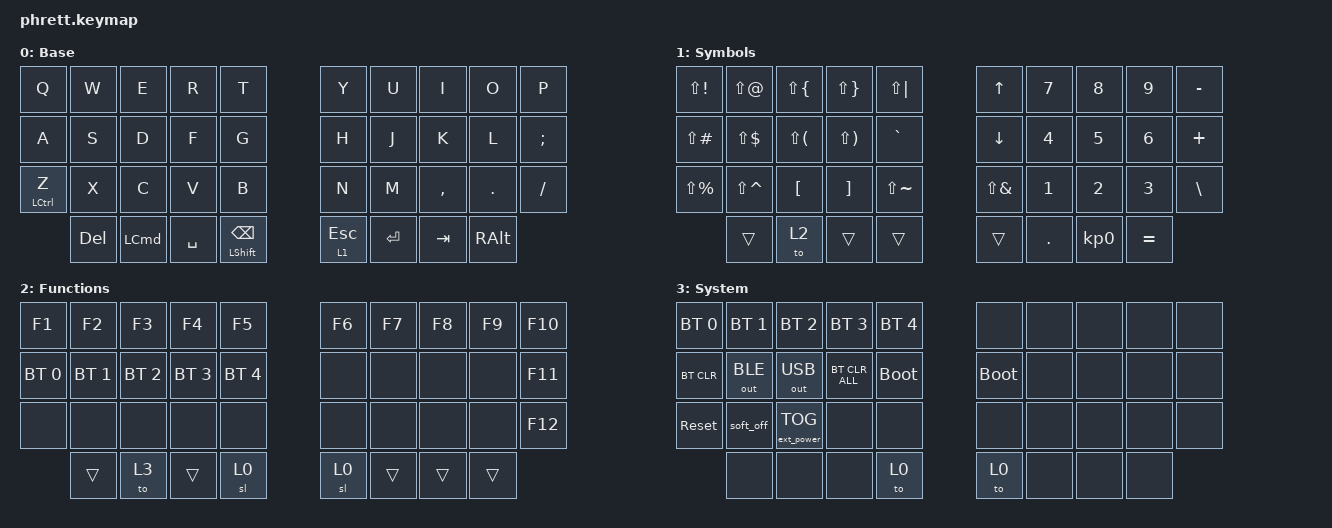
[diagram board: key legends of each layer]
#include <behaviors.dtsi>
#include <dt-bindings/zmk/bt.h>
#include <dt-bindings/zmk/ext_power.h>
#include <dt-bindings/zmk/keys.h>
#include <dt-bindings/zmk/outputs.h>

/ {
    conditional_layers { compatible = "zmk,conditional-layers"; };

    keymap {
        compatible = "zmk,keymap";

        Base {
            // --------------------------------------------------------------------------------
            // |  Q  |  W  |  F  |  P  |  B  |                  |  J  |  L  |  U  |  Y  |  ;  |
            // |  A  |  R  |  S  |  T  |  G  |                  |  M  |  N  |  E  |  I  |  O  |
            // |  Z  |  X  |  C  |  D  |  V  |                  |  K  |  H  |  ,  |  .  |  /  |
            //             | CMD | ESC | BSPC| DEL |     | TAB  | SPC | RET |SHIFT|

            bindings = <
&kp Q        &kp W       &kp E             &kp R      &kp T                     &kp Y         &kp U      &kp I      &kp O          &kp P
&kp A        &kp S       &kp D             &kp F      &kp G                     &kp H         &kp J      &kp K      &kp L          &kp SEMI
&mt LCTRL Z  &kp X       &kp C             &kp V      &kp B                     &kp N         &kp M      &kp COMMA  &kp DOT        &kp FSLH
             &kp DELETE  &kp LEFT_COMMAND  &kp SPACE  &mt LSHIFT BACKSPACE      &lt 1 ESCAPE  &kp ENTER  &kp TAB    &kp RIGHT_ALT
            >;
        };

        Symbols {
            bindings = <
&kp LS(EXCL)   &kp LS(AT)     &kp LS(LBRC)  &kp LS(RBRC)  &kp LS(PIPE)       &kp UP_ARROW  &kp N7      &kp N8           &kp N9     &kp MINUS
&kp LS(POUND)  &kp LS(DLLR)   &kp LS(LPAR)  &kp LS(RPAR)  &kp GRAVE          &kp DOWN      &kp N4      &kp N5           &kp N6     &kp PLUS
&kp LS(PRCNT)  &kp LS(CARET)  &kp LBKT      &kp RBKT      &kp LS(TILDE)      &kp LS(AMPS)  &kp N1      &kp N2           &kp N3     &kp BSLH
               &trans         &to 2         &trans        &trans             &trans        &kp PERIOD  &kp KP_NUMBER_0  &kp EQUAL
            >;
        };

        Functions {
            bindings = <
&kp F1        &kp F2        &kp F3        &kp F4        &kp F5            &kp F6  &kp F7  &kp F8  &kp F9  &kp F10
&bt BT_SEL 0  &bt BT_SEL 1  &bt BT_SEL 2  &bt BT_SEL 3  &bt BT_SEL 4      &none   &none   &none   &none   &kp F11
&none         &none         &none         &none         &none             &none   &none   &none   &none   &kp F12
              &trans        &to 3         &trans        &sl 0             &sl 0   &trans  &trans  &trans
            >;
        };

        System {
            bindings = <
&bt BT_SEL 0  &bt BT_SEL 1  &bt BT_SEL 2       &bt BT_SEL 3    &bt BT_SEL 4      &none        &none  &none  &none  &none
&bt BT_CLR    &out OUT_BLE  &out OUT_USB       &bt BT_CLR_ALL  &bootloader       &bootloader  &none  &none  &none  &none
&sys_reset    &soft_off     &ext_power EP_TOG  &none           &none             &none        &none  &none  &none  &none
              &none         &none              &none           &to 0             &to 0        &none  &none  &none
            >;
        };
    };
};

